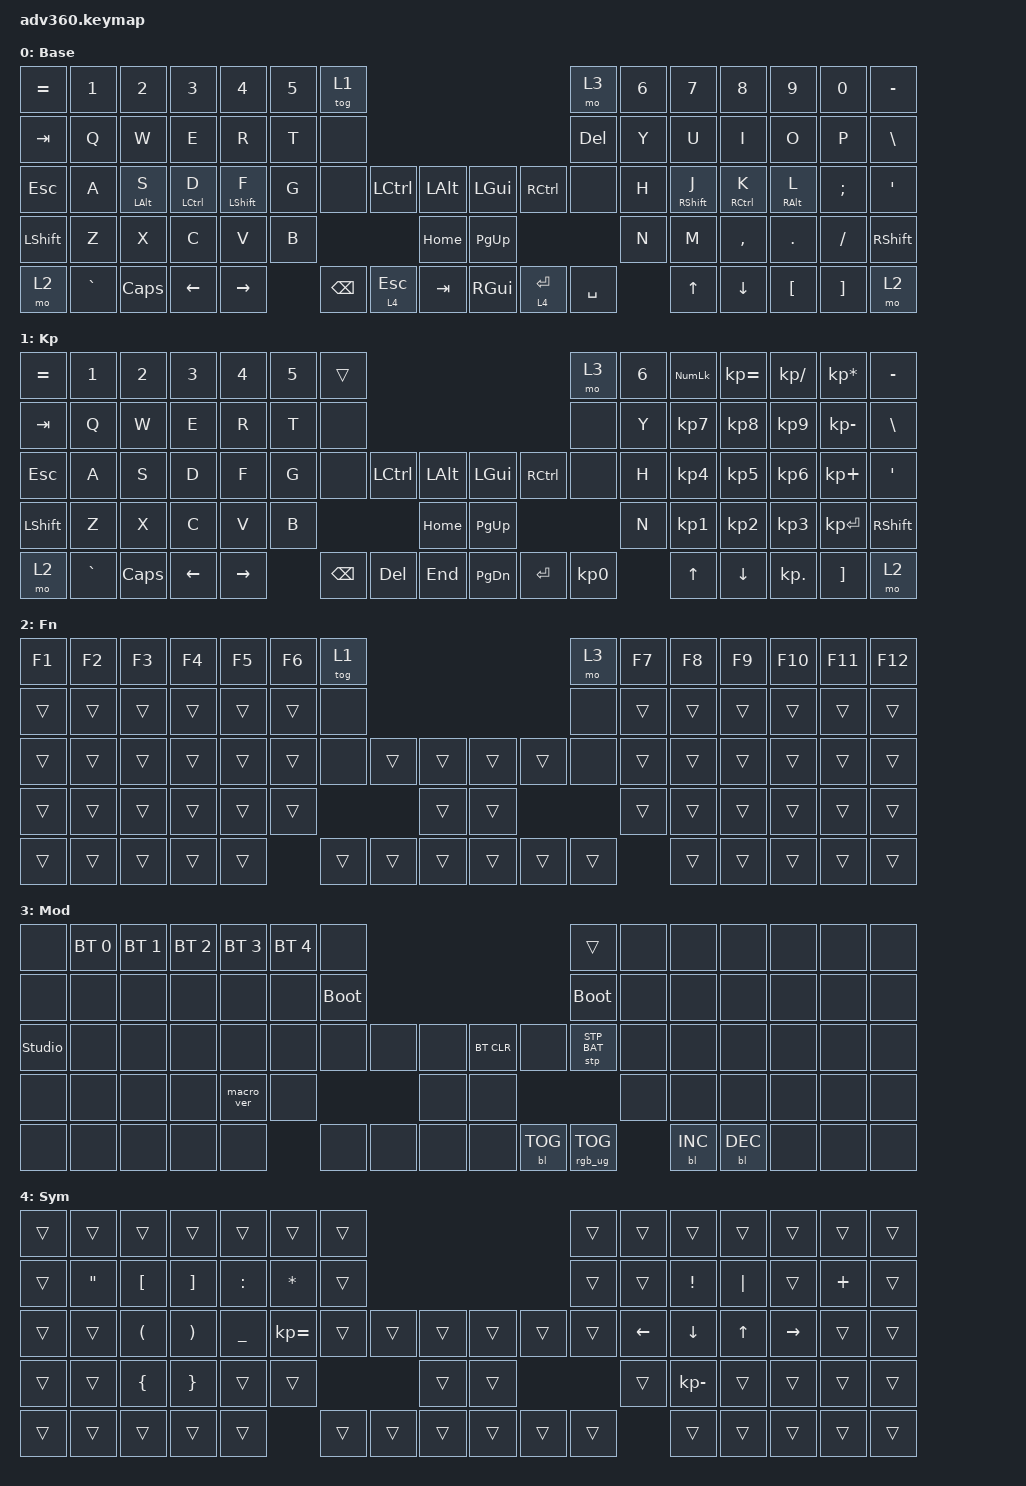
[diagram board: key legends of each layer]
#include <dt-bindings/zmk/stp.h>
#include <behaviors.dtsi>
#include <dt-bindings/zmk/backlight.h>
#include <dt-bindings/zmk/bt.h>
#include <dt-bindings/zmk/keys.h>
#include <dt-bindings/zmk/rgb.h>

/ {
    behaviors {
        #include "macros.dtsi"
      #include "version.dtsi"

        hm: homerow_mods {
            compatible = "zmk,behavior-hold-tap";
            label = "HOMEROW_MODS";
            #binding-cells = <2>;
            tapping-term-ms = <200>;
            quick-tap-ms = <175>;
            flavor = "tap-preferred";
            bindings = <&kp>, <&kp>;
        };
    };

    keymap {
        compatible = "zmk,keymap";

        default_layer {
            display-name = "Base";
            bindings = <
&kp EQUAL  &kp N1     &kp N2          &kp N3       &kp N4            &kp N5  &tog 1                                                            &mo 3      &kp N6  &kp N7             &kp N8       &kp N9           &kp N0         &kp MINUS
&kp TAB    &kp Q      &kp W           &kp E        &kp R             &kp T   &none                                                             &kp DEL    &kp Y   &kp U              &kp I        &kp O            &kp P          &kp BSLH
&kp ESC    &kp A      &hm LEFT_ALT S  &hm LCTRL D  &hm LEFT_SHIFT F  &kp G   &none     &kp LCTRL     &kp LALT      &kp LGUI       &kp RCTRL    &none      &kp H   &hm RIGHT_SHIFT J  &hm RCTRL K  &hm RIGHT_ALT L  &kp SEMICOLON  &kp SQT
&kp LSHFT  &kp Z      &kp X           &kp C        &kp V             &kp B                           &kp HOME      &kp PG_UP                              &kp N   &kp M              &kp COMMA    &kp DOT          &kp FSLH       &kp RSHFT
&mo 2      &kp GRAVE  &kp CAPS        &kp LEFT     &kp RIGHT                 &kp BSPC  &lt 4 ESCAPE  &kp TAB       &kp RIGHT_GUI  &lt 4 ENTER  &kp SPACE          &kp UP             &kp DOWN     &kp LBKT         &kp RBKT       &mo 2
            >;
        };

        keypad {
            display-name = "Kp";
            bindings = <
&kp EQUAL  &kp N1     &kp N2    &kp N3    &kp N4     &kp N5  &trans                                                   &mo 3      &kp N6  &kp KP_NUM  &kp KP_EQUAL  &kp KP_DIVIDE  &kp KP_MULTIPLY  &kp MINUS
&kp TAB    &kp Q      &kp W     &kp E     &kp R      &kp T   &none                                                    &none      &kp Y   &kp KP_N7   &kp KP_N8     &kp KP_N9      &kp KP_MINUS     &kp BSLH
&kp ESC    &kp A      &kp S     &kp D     &kp F      &kp G   &none     &kp LCTRL  &kp LALT      &kp LGUI   &kp RCTRL  &none      &kp H   &kp KP_N4   &kp KP_N5     &kp KP_N6      &kp KP_PLUS      &kp SQT
&kp LSHFT  &kp Z      &kp X     &kp C     &kp V      &kp B                        &kp HOME      &kp PG_UP                        &kp N   &kp KP_N1   &kp KP_N2     &kp KP_N3      &kp KP_ENTER     &kp RSHFT
&mo 2      &kp GRAVE  &kp CAPS  &kp LEFT  &kp RIGHT          &kp BSPC  &kp DEL    &kp END       &kp PG_DN  &kp ENTER  &kp KP_N0          &kp UP      &kp DOWN      &kp KP_DOT     &kp RBKT         &mo 2
            >;
        };

        fn {
            display-name = "Fn";
            bindings = <
&kp F1  &kp F2  &kp F3  &kp F4  &kp F5  &kp F6  &tog 1                                      &mo 3   &kp F7  &kp F8  &kp F9  &kp F10  &kp F11  &kp F12
&trans  &trans  &trans  &trans  &trans  &trans  &none                                       &none   &trans  &trans  &trans  &trans   &trans   &trans
&trans  &trans  &trans  &trans  &trans  &trans  &none   &trans  &trans      &trans  &trans  &none   &trans  &trans  &trans  &trans   &trans   &trans
&trans  &trans  &trans  &trans  &trans  &trans                  &trans      &trans                  &trans  &trans  &trans  &trans   &trans   &trans
&trans  &trans  &trans  &trans  &trans          &trans  &trans  &trans      &trans  &trans  &trans          &trans  &trans  &trans   &trans   &trans
            >;
        };

        mod {
            display-name = "Mod";
            bindings = <
&none           &bt BT_SEL 0  &bt BT_SEL 1  &bt BT_SEL 2  &bt BT_SEL 3  &bt BT_SEL 4  &none                                                  &trans           &none  &none       &none       &none  &none  &none
&none           &none         &none         &none         &none         &none         &bootloader                                            &bootloader      &none  &none       &none       &none  &none  &none
&studio_unlock  &none         &none         &none         &none         &none         &none        &none  &none      &bt BT_CLR  &none       &stp STP_BAT     &none  &none       &none       &none  &none  &none
&none           &none         &none         &none         &macro_ver    &none                             &none      &none                                    &none  &none       &none       &none  &none  &none
&none           &none         &none         &none         &none                       &none        &none  &none      &none       &bl BL_TOG  &rgb_ug RGB_TOG         &bl BL_INC  &bl BL_DEC  &none  &none  &none
            >;
        };

        sym {
            display-name = "Sym";
            bindings = <
&trans  &trans             &trans                &trans                 &trans     &trans        &trans                                      &trans  &trans          &trans          &trans        &trans     &trans    &trans
&trans  &kp DOUBLE_QUOTES  &kp LEFT_BRACKET      &kp RIGHT_BRACKET      &kp COLON  &kp STAR      &trans                                      &trans  &trans          &kp EXCL        &kp PIPE      &trans     &kp PLUS  &trans
&trans  &trans             &kp LEFT_PARENTHESIS  &kp RIGHT_PARENTHESIS  &kp UNDER  &kp KP_EQUAL  &trans  &trans  &trans      &trans  &trans  &trans  &kp LEFT_ARROW  &kp DOWN_ARROW  &kp UP_ARROW  &kp RIGHT  &trans    &trans
&trans  &trans             &kp LEFT_BRACE        &kp RIGHT_BRACE        &trans     &trans                        &trans      &trans                  &trans          &kp KP_MINUS    &trans        &trans     &trans    &trans
&trans  &trans             &trans                &trans                 &trans                   &trans  &trans  &trans      &trans  &trans  &trans                  &trans          &trans        &trans     &trans    &trans
            >;
        };

        extra1 {
            display-name = "Red";
            status = "reserved";
        };

        extra2 {
            display-name = "Purple";
            status = "reserved";
        };

        extra3 {
            display-name = "Cyan";
            status = "reserved";
        };
    };
};
